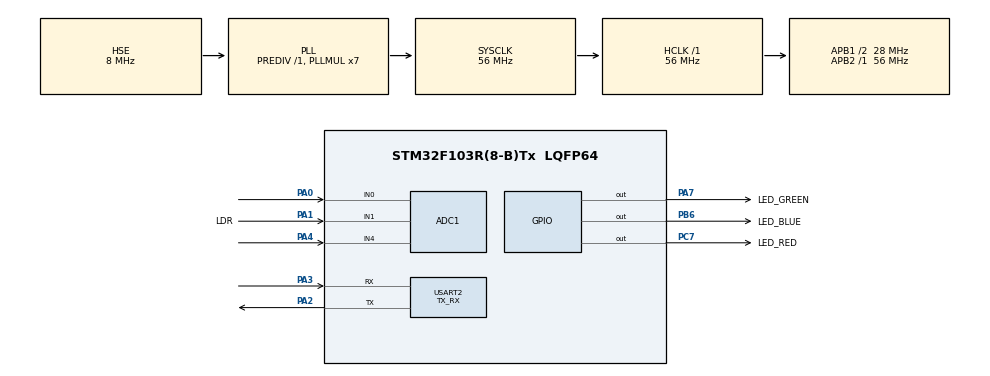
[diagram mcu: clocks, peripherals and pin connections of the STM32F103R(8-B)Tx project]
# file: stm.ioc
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ADC1.Channel-2\#ChannelRegularConversion=ADC_CHANNEL_0
ADC1.Channel-3\#ChannelRegularConversion=ADC_CHANNEL_1
ADC1.Channel-4\#ChannelRegularConversion=ADC_CHANNEL_4
ADC1.ContinuousConvMode=ENABLE
ADC1.NbrOfConversion=3
ADC1.NbrOfConversionFlag=1
ADC1.Rank-2\#ChannelRegularConversion=1
ADC1.Rank-3\#ChannelRegularConversion=2
ADC1.Rank-4\#ChannelRegularConversion=3
ADC1.SamplingTime-2\#ChannelRegularConversion=ADC_SAMPLETIME_239CYCLES_5
ADC1.SamplingTime-3\#ChannelRegularConversion=ADC_SAMPLETIME_239CYCLES_5
ADC1.SamplingTime-4\#ChannelRegularConversion=ADC_SAMPLETIME_239CYCLES_5
ADC1.master=1
Dma.ADC1.0.Direction=DMA_PERIPH_TO_MEMORY
Dma.ADC1.0.Instance=DMA1_Channel1
Dma.ADC1.0.MemDataAlignment=DMA_MDATAALIGN_HALFWORD
Dma.ADC1.0.MemInc=DMA_MINC_ENABLE
Dma.ADC1.0.Mode=DMA_CIRCULAR
Dma.ADC1.0.PeriphDataAlignment=DMA_PDATAALIGN_HALFWORD
Dma.ADC1.0.PeriphInc=DMA_PINC_DISABLE
Dma.ADC1.0.Priority=DMA_PRIORITY_LOW
Dma.Request0=ADC1
Mcu.Family=STM32F1
Mcu.Name=STM32F103R(8-B)Tx
Mcu.Package=LQFP64
NVIC.DMA1_Channel1_IRQn=true\:0\:0\:false\:false\:true\:false\:true\:true
NVIC.PriorityGroup=NVIC_PRIORITYGROUP_4
NVIC.TIM3_IRQn=true\:0\:0\:false\:false\:true\:true\:true\:true
NVIC.USART2_IRQn=true\:0\:0\:false\:false\:true\:true\:true\:true
PA0-WKUP.Signal=ADCx_IN0
PA1.GPIO_Label=LDR
PA1.Signal=ADCx_IN1
PA13.GPIO_Label=TMS
PA13.Mode=Serial_Wire
PA13.Signal=SYS_JTMS-SWDIO
PA14.GPIO_Label=TCK
PA14.Mode=Serial_Wire
PA14.Signal=SYS_JTCK-SWCLK
PA2.Mode=Asynchronous
PA2.Signal=USART2_TX
PA3.Mode=Asynchronous
PA3.Signal=USART2_RX
PA4.Signal=ADCx_IN4
PA7.GPIO_Label=LED_GREEN
PA7.Signal=GPIO_Output
PB3.GPIO_Label=SWO
PB3.Signal=SYS_JTDO-TRACESWO
PB6.GPIO_Label=LED_BLUE
PB6.Signal=GPIO_Output
PC14-OSC32_IN.Mode=LSE-External-Oscillator
PC14-OSC32_IN.Signal=RCC_OSC32_IN
PC15-OSC32_OUT.Mode=LSE-External-Oscillator
PC15-OSC32_OUT.Signal=RCC_OSC32_OUT
PC7.GPIO_Label=LED_RED
PC7.Signal=GPIO_Output
PD0-OSC_IN.Mode=HSE-External-Clock-Source
PD0-OSC_IN.Signal=RCC_OSC_IN
PD1-OSC_OUT.Mode=HSE-External-Clock-Source
PD1-OSC_OUT.Signal=RCC_OSC_OUT
ProjectManager.HeapSize=0x200
ProjectManager.StackSize=0x400
ProjectManager.TargetToolchain=MDK-ARM V5.32
RCC.ADCPresc=RCC_ADCPCLK2_DIV4
RCC.AHBFreq_Value=56000000
RCC.APB1CLKDivider=RCC_HCLK_DIV2
RCC.APB1Freq_Value=28000000
RCC.APB1TimFreq_Value=56000000
RCC.APB2Freq_Value=56000000
RCC.APB2TimFreq_Value=56000000
RCC.HCLKFreq_Value=56000000
RCC.PLLMUL=RCC_PLL_MUL7
RCC.PLLSourceVirtual=RCC_PLLSOURCE_HSE
RCC.RTCClockSelection=RCC_RTCCLKSOURCE_LSE
RCC.SYSCLKFreq_VALUE=56000000
RCC.SYSCLKSource=RCC_SYSCLKSOURCE_PLLCLK
RCC.USBFreq_Value=56000000
SH.ADCx_IN0.0=ADC1_IN0,IN0
SH.ADCx_IN1.0=ADC1_IN1,IN1
SH.ADCx_IN4.0=ADC1_IN4,IN4
TIM2.AutoReloadPreload=TIM_AUTORELOAD_PRELOAD_ENABLE
TIM3.AutoReloadPreload=TIM_AUTORELOAD_PRELOAD_DISABLE
TIM3.Period=500
TIM3.Prescaler=55999
USART2.Mode=MODE_TX_RX
USART2.Parity=PARITY_NONE
USART2.VirtualMode=VM_ASYNC
USART2.WordLength=WORDLENGTH_8B
VP_ADC1_TempSens_Input.Mode=IN-TempSens
VP_TIM2_VS_ClockSourceINT.Mode=Internal
VP_TIM3_VS_ClockSourceINT.Mode=Internal
board=NUCLEO-F103RB

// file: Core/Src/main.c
/* USER CODE BEGIN Header */
/**
  ******************************************************************************
  * @file           : main.c
  * @brief          : Main program body
  ******************************************************************************
  * @attention
  *
  * <h2><center>&copy; Copyright (c) 2022 STMicroelectronics.
  * All rights reserved.</center></h2>
  *
  * This software component is licensed by ST under BSD 3-Clause license,
  * the "License"; You may not use this file except in compliance with the
  * License. You may obtain a copy of the License at:
  *                        opensource.org/licenses/BSD-3-Clause
  *
  ******************************************************************************
  */
/* USER CODE END Header */
#include "main.h"

ADC_HandleTypeDef hadc1;
DMA_HandleTypeDef hdma_adc1;

TIM_HandleTypeDef htim2;
TIM_HandleTypeDef htim3;

UART_HandleTypeDef huart2;

/* USER CODE BEGIN PV */
RgbSource rgbSource = LIGHT;
Mode mode = MODE_AUTO;
Level levels[3];
Level thresholds[] = {
	(Level) 1000, (Level) 2000, // ROTATION THRESHOLDS
	(Level) 1000, (Level) 2000, // LIGHT THRESHOLDS
	(Level) 1000, (Level) 2000  // TEMP THRESHOLDS
};
/* USER CODE END PV */

void SystemClock_Config(void);
static void MX_GPIO_Init(void);
static void MX_DMA_Init(void);
static void MX_USART2_UART_Init(void);
static void MX_TIM3_Init(void);
static void MX_ADC1_Init(void);
static void MX_TIM2_Init(void);

/* USER CODE BEGIN 0 */

// INTENSITY
void setRGB(GPIO_PinState red, GPIO_PinState green, GPIO_PinState blue) {
	HAL_GPIO_WritePin(LED_RED_GPIO_Port, LED_RED_Pin, red);
	HAL_GPIO_WritePin(LED_GREEN_GPIO_Port, LED_GREEN_Pin, green);
	HAL_GPIO_WritePin(LED_BLUE_GPIO_Port, LED_BLUE_Pin, blue);
}

void high() {
	setRGB(GPIO_PIN_RESET, GPIO_PIN_RESET, GPIO_PIN_SET);
}

void normal() {
	setRGB(GPIO_PIN_RESET, GPIO_PIN_SET, GPIO_PIN_RESET);
}

void low() {
	setRGB(GPIO_PIN_SET, GPIO_PIN_RESET, GPIO_PIN_RESET);
}

void setIntensity(uint16_t value, uint16_t middleThreshold, uint16_t highThreshold) {
	if(value < middleThreshold) {
		low();
	} else if(value < highThreshold) {
		normal();
	} else {
		high();
	}
}

void updateIntensity() {
	setIntensity(
		levels[rgbSource],
		thresholds[2 * rgbSource],
		thresholds[2 * rgbSource + 1]
	);
}

// INTENSITY END

// TRANSMITTING

Level converted[3];

void convertLevels() {
	converted[ROTATION] = levels[ROTATION];
	converted[LIGHT] = levels[LIGHT];
	converted[TEMP] = levels[TEMP];
}

void transmitLevels() {
	while(HAL_UART_GetState (&huart2) == HAL_UART_STATE_BUSY_TX);
	convertLevels();
	HAL_UART_Transmit(&huart2, (uint8_t *) &converted, 3 * sizeof(Level), 10000);
}

// TRANSMITTING

/* USER CODE END 0 */

int main(void)
{

  /* MCU Configuration--------------------------------------------------------*/

  /* Reset of all peripherals, Initializes the Flash interface and the Systick. */
  HAL_Init();

  /* Configure the system clock */
  SystemClock_Config();

  /* Initialize all configured peripherals */
  MX_GPIO_Init();
  MX_DMA_Init();
  MX_USART2_UART_Init();
  MX_TIM3_Init();
  MX_ADC1_Init();
  MX_TIM2_Init();
  /* USER CODE BEGIN 2 */
	HAL_ADCEx_Calibration_Start(&hadc1);

	HAL_TIM_Base_Start_IT(&htim3);

  /* USER CODE END 2 */

  /* Infinite loop */
  /* USER CODE BEGIN WHILE */
  while (1)
  {
		HAL_ADC_Start_DMA(&hadc1, (uint32_t*) &levels, 3);

		Command command = NO_COMMAND;
		HAL_UART_Receive(&huart2, &command, sizeof(Command), 100);

		switch(command) {
			case NO_COMMAND: break;
			case NEXT_VALUE:
				if(mode == MODE_MANUAL) {
					transmitLevels();
					updateIntensity();
				}
				break;
			case SET_MODE_MANUAL:
				mode = MODE_MANUAL;
				break;
			case SET_MODE_AUTO:
				mode = MODE_AUTO;
				break;
			case SET_RGB_ON_ROTATION:
				rgbSource = ROTATION;
				break;
			case SET_RGB_ON_LIGHT:
				rgbSource = LIGHT;
				break;
			case SET_RGB_ON_TEMP:
				rgbSource = TEMP;
				break;
		}
    /* USER CODE END WHILE */

  }
}

void SystemClock_Config(void)
{
  RCC_OscInitTypeDef RCC_OscInitStruct = {0};
  RCC_ClkInitTypeDef RCC_ClkInitStruct = {0};
  RCC_PeriphCLKInitTypeDef PeriphClkInit = {0};

  /** Initializes the RCC Oscillators according to the specified parameters
  * in the RCC_OscInitTypeDef structure.
  */
  RCC_OscInitStruct.OscillatorType = RCC_OSCILLATORTYPE_HSE;
  RCC_OscInitStruct.HSEState = RCC_HSE_BYPASS;
  RCC_OscInitStruct.HSEPredivValue = RCC_HSE_PREDIV_DIV1;
  RCC_OscInitStruct.HSIState = RCC_HSI_ON;
  RCC_OscInitStruct.PLL.PLLState = RCC_PLL_ON;
  RCC_OscInitStruct.PLL.PLLSource = RCC_PLLSOURCE_HSE;
  RCC_OscInitStruct.PLL.PLLMUL = RCC_PLL_MUL7;
  if (HAL_RCC_OscConfig(&RCC_OscInitStruct) != HAL_OK)
  {
    Error_Handler();
  }

  /** Initializes the CPU, AHB and APB buses clocks
  */
  RCC_ClkInitStruct.ClockType = RCC_CLOCKTYPE_HCLK|RCC_CLOCKTYPE_SYSCLK
                              |RCC_CLOCKTYPE_PCLK1|RCC_CLOCKTYPE_PCLK2;
  RCC_ClkInitStruct.SYSCLKSource = RCC_SYSCLKSOURCE_PLLCLK;
  RCC_ClkInitStruct.AHBCLKDivider = RCC_SYSCLK_DIV1;
  RCC_ClkInitStruct.APB1CLKDivider = RCC_HCLK_DIV2;
  RCC_ClkInitStruct.APB2CLKDivider = RCC_HCLK_DIV1;

  if (HAL_RCC_ClockConfig(&RCC_ClkInitStruct, FLASH_LATENCY_2) != HAL_OK)
  {
    Error_Handler();
  }
  PeriphClkInit.PeriphClockSelection = RCC_PERIPHCLK_ADC;
  PeriphClkInit.AdcClockSelection = RCC_ADCPCLK2_DIV4;
  if (HAL_RCCEx_PeriphCLKConfig(&PeriphClkInit) != HAL_OK)
  {
    Error_Handler();
  }
}

static void MX_ADC1_Init(void)
{

  ADC_ChannelConfTypeDef sConfig = {0};

  /** Common config
  */
  hadc1.Instance = ADC1;
  hadc1.Init.ScanConvMode = ADC_SCAN_ENABLE;
  hadc1.Init.ContinuousConvMode = ENABLE;
  hadc1.Init.DiscontinuousConvMode = DISABLE;
  hadc1.Init.ExternalTrigConv = ADC_SOFTWARE_START;
  hadc1.Init.DataAlign = ADC_DATAALIGN_RIGHT;
  hadc1.Init.NbrOfConversion = 3;
  if (HAL_ADC_Init(&hadc1) != HAL_OK)
  {
    Error_Handler();
  }

  /** Configure Regular Channel
  */
  sConfig.Channel = ADC_CHANNEL_0;
  sConfig.Rank = ADC_REGULAR_RANK_1;
  sConfig.SamplingTime = ADC_SAMPLETIME_239CYCLES_5;
  if (HAL_ADC_ConfigChannel(&hadc1, &sConfig) != HAL_OK)
  {
    Error_Handler();
  }

  /** Configure Regular Channel
  */
  sConfig.Channel = ADC_CHANNEL_1;
  sConfig.Rank = ADC_REGULAR_RANK_2;
  if (HAL_ADC_ConfigChannel(&hadc1, &sConfig) != HAL_OK)
  {
    Error_Handler();
  }

  /** Configure Regular Channel
  */
  sConfig.Channel = ADC_CHANNEL_4;
  sConfig.Rank = ADC_REGULAR_RANK_3;
  if (HAL_ADC_ConfigChannel(&hadc1, &sConfig) != HAL_OK)
  {
    Error_Handler();
  }

}

static void MX_TIM2_Init(void)
{

  TIM_ClockConfigTypeDef sClockSourceConfig = {0};
  TIM_MasterConfigTypeDef sMasterConfig = {0};

  htim2.Instance = TIM2;
  htim2.Init.Prescaler = 0;
  htim2.Init.CounterMode = TIM_COUNTERMODE_UP;
  htim2.Init.Period = 65535;
  htim2.Init.ClockDivision = TIM_CLOCKDIVISION_DIV1;
  htim2.Init.AutoReloadPreload = TIM_AUTORELOAD_PRELOAD_ENABLE;
  if (HAL_TIM_Base_Init(&htim2) != HAL_OK)
  {
    Error_Handler();
  }
  sClockSourceConfig.ClockSource = TIM_CLOCKSOURCE_INTERNAL;
  if (HAL_TIM_ConfigClockSource(&htim2, &sClockSourceConfig) != HAL_OK)
  {
    Error_Handler();
  }
  sMasterConfig.MasterOutputTrigger = TIM_TRGO_RESET;
  sMasterConfig.MasterSlaveMode = TIM_MASTERSLAVEMODE_DISABLE;
  if (HAL_TIMEx_MasterConfigSynchronization(&htim2, &sMasterConfig) != HAL_OK)
  {
    Error_Handler();
  }

}

static void MX_TIM3_Init(void)
{

  TIM_ClockConfigTypeDef sClockSourceConfig = {0};
  TIM_MasterConfigTypeDef sMasterConfig = {0};

  htim3.Instance = TIM3;
  htim3.Init.Prescaler = 55999;
  htim3.Init.CounterMode = TIM_COUNTERMODE_UP;
  htim3.Init.Period = 500;
  htim3.Init.ClockDivision = TIM_CLOCKDIVISION_DIV1;
  htim3.Init.AutoReloadPreload = TIM_AUTORELOAD_PRELOAD_DISABLE;
  if (HAL_TIM_Base_Init(&htim3) != HAL_OK)
  {
    Error_Handler();
  }
  sClockSourceConfig.ClockSource = TIM_CLOCKSOURCE_INTERNAL;
  if (HAL_TIM_ConfigClockSource(&htim3, &sClockSourceConfig) != HAL_OK)
  {
    Error_Handler();
  }
  sMasterConfig.MasterOutputTrigger = TIM_TRGO_RESET;
  sMasterConfig.MasterSlaveMode = TIM_MASTERSLAVEMODE_DISABLE;
  if (HAL_TIMEx_MasterConfigSynchronization(&htim3, &sMasterConfig) != HAL_OK)
  {
    Error_Handler();
  }

}

static void MX_USART2_UART_Init(void)
{

  huart2.Instance = USART2;
  huart2.Init.BaudRate = 115200;
  huart2.Init.WordLength = UART_WORDLENGTH_8B;
  huart2.Init.StopBits = UART_STOPBITS_1;
  huart2.Init.Parity = UART_PARITY_NONE;
  huart2.Init.Mode = UART_MODE_TX_RX;
  huart2.Init.HwFlowCtl = UART_HWCONTROL_NONE;
  huart2.Init.OverSampling = UART_OVERSAMPLING_16;
  if (HAL_UART_Init(&huart2) != HAL_OK)
  {
    Error_Handler();
  }

}

static void MX_DMA_Init(void)
{

  /* DMA controller clock enable */
  __HAL_RCC_DMA1_CLK_ENABLE();

  /* DMA interrupt init */
  /* DMA1_Channel1_IRQn interrupt configuration */
  HAL_NVIC_SetPriority(DMA1_Channel1_IRQn, 0, 0);
  HAL_NVIC_EnableIRQ(DMA1_Channel1_IRQn);

}

static void MX_GPIO_Init(void)
{
  GPIO_InitTypeDef GPIO_InitStruct = {0};

  /* GPIO Ports Clock Enable */
  __HAL_RCC_GPIOC_CLK_ENABLE();
  __HAL_RCC_GPIOD_CLK_ENABLE();
  __HAL_RCC_GPIOA_CLK_ENABLE();
  __HAL_RCC_GPIOB_CLK_ENABLE();

  /*Configure GPIO pin Output Level */
  HAL_GPIO_WritePin(LED_GREEN_GPIO_Port, LED_GREEN_Pin, GPIO_PIN_RESET);

  /*Configure GPIO pin Output Level */
  HAL_GPIO_WritePin(LED_RED_GPIO_Port, LED_RED_Pin, GPIO_PIN_RESET);

  /*Configure GPIO pin Output Level */
  HAL_GPIO_WritePin(LED_BLUE_GPIO_Port, LED_BLUE_Pin, GPIO_PIN_RESET);

  /*Configure GPIO pin : LED_GREEN_Pin */
  GPIO_InitStruct.Pin = LED_GREEN_Pin;
  GPIO_InitStruct.Mode = GPIO_MODE_OUTPUT_PP;
  GPIO_InitStruct.Pull = GPIO_NOPULL;
  GPIO_InitStruct.Speed = GPIO_SPEED_FREQ_LOW;
  HAL_GPIO_Init(LED_GREEN_GPIO_Port, &GPIO_InitStruct);

  /*Configure GPIO pin : LED_RED_Pin */
  GPIO_InitStruct.Pin = LED_RED_Pin;
  GPIO_InitStruct.Mode = GPIO_MODE_OUTPUT_PP;
  GPIO_InitStruct.Pull = GPIO_NOPULL;
  GPIO_InitStruct.Speed = GPIO_SPEED_FREQ_LOW;
  HAL_GPIO_Init(LED_RED_GPIO_Port, &GPIO_InitStruct);

  /*Configure GPIO pin : LED_BLUE_Pin */
  GPIO_InitStruct.Pin = LED_BLUE_Pin;
  GPIO_InitStruct.Mode = GPIO_MODE_OUTPUT_PP;
  GPIO_InitStruct.Pull = GPIO_NOPULL;
  GPIO_InitStruct.Speed = GPIO_SPEED_FREQ_LOW;
  HAL_GPIO_Init(LED_BLUE_GPIO_Port, &GPIO_InitStruct);

}

void Error_Handler(void)
{
  __disable_irq();
  while (1)
  {
  }
}
